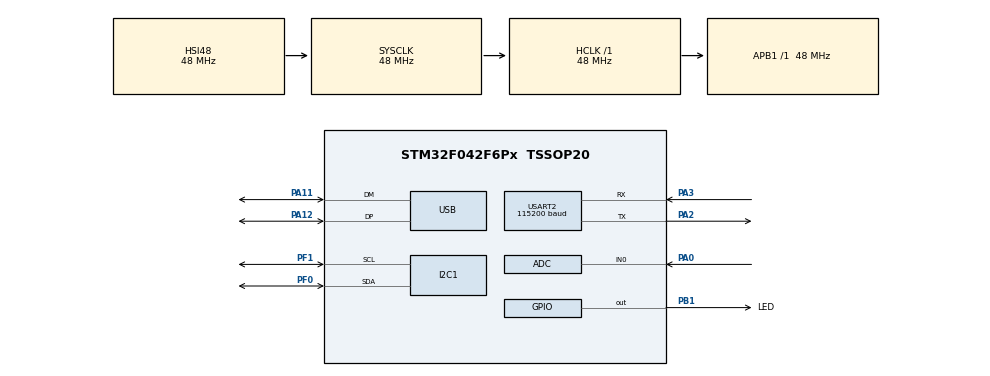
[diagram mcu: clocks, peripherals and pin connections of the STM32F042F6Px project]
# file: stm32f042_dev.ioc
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ADC.ContinuousConvMode=ENABLE
ADC.DMAContinuousRequests=DISABLE
ADC.SamplingTime=ADC_SAMPLETIME_1CYCLE_5
Dma.ADC.0.Direction=DMA_PERIPH_TO_MEMORY
Dma.ADC.0.Instance=DMA1_Channel1
Dma.ADC.0.MemDataAlignment=DMA_MDATAALIGN_HALFWORD
Dma.ADC.0.MemInc=DMA_MINC_ENABLE
Dma.ADC.0.Mode=DMA_CIRCULAR
Dma.ADC.0.PeriphDataAlignment=DMA_PDATAALIGN_HALFWORD
Dma.ADC.0.PeriphInc=DMA_PINC_DISABLE
Dma.ADC.0.Priority=DMA_PRIORITY_LOW
Dma.Request0=ADC
Mcu.Family=STM32F0
Mcu.Name=STM32F042F6Px
Mcu.Package=TSSOP20
NVIC.DMA1_Channel1_IRQn=true\:0\:0\:false\:false\:true\:false\:true
PA0.Mode=IN0
PA0.Signal=ADC_IN0
PA11.Mode=Device
PA11.Signal=USB_DM
PA12.Mode=Device
PA12.Signal=USB_DP
PA2.Mode=Asynchronous
PA2.Signal=USART2_TX
PA3.Mode=Asynchronous
PA3.Signal=USART2_RX
PB1.GPIO_Label=LED
PB1.Signal=GPIO_Output
PF0-OSC_IN.Mode=I2C
PF0-OSC_IN.Signal=I2C1_SDA
PF1-OSC_OUT.Mode=I2C
PF1-OSC_OUT.Signal=I2C1_SCL
ProjectManager.HeapSize=0x100
ProjectManager.StackSize=0x100
ProjectManager.TargetToolchain=STM32CubeIDE
RCC.AHBFreq_Value=48000000
RCC.APB1Freq_Value=48000000
RCC.APB1TimFreq_Value=48000000
RCC.HCLKFreq_Value=48000000
RCC.SYSCLKFreq_VALUE=48000000
RCC.SYSCLKSource=RCC_SYSCLKSOURCE_HSI48
USART2.BaudRate=115200
USART2.VirtualMode-Asynchronous=VM_ASYNC
VP_SYS_VS_PINREMAP.Mode=PINREMAP
board=custom

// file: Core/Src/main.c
/* USER CODE BEGIN Header */
/**
  ******************************************************************************
  * @file           : main.c
  * @brief          : Main program body
  ******************************************************************************
  * @attention
  *
  * <h2><center>&copy; Copyright (c) 2020 STMicroelectronics.
  * All rights reserved.</center></h2>
  *
  * This software component is licensed by ST under BSD 3-Clause license,
  * the "License"; You may not use this file except in compliance with the
  * License. You may obtain a copy of the License at:
  *                        opensource.org/licenses/BSD-3-Clause
  *
  ******************************************************************************
  */
/* USER CODE END Header */

#include "main.h"

/* USER CODE BEGIN Includes */
#include "math.h"
#include "stdlib.h"
#include "stdio.h"

#include "Adafruit_ZeroFFT.h"
//#include "ssd1306.h"
//#include "ssd1306_tests.h"

/* USER CODE END Includes */

/* USER CODE BEGIN PD */
#define ADC_BUFFER_SIZE 512
#define FFT_BIN_SIZE 512
#define FFT_BIN_SIZE_HALF 256
#define SAMPLING_FREQ 1000000
#define FFT_UNIT_FREQ 1953.125f // equation: SAMPLING_FREQ / FFT_BIN_SIZE
/* USER CODE END PD */

ADC_HandleTypeDef hadc;
DMA_HandleTypeDef hdma_adc;
I2C_HandleTypeDef hi2c1;
UART_HandleTypeDef huart2;
//PCD_HandleTypeDef hpcd_USB_FS;

/* USER CODE BEGIN PV */
uint16_t adcBuffer[ADC_BUFFER_SIZE];
uint16_t fft_max_index;
uint16_t fft_max_val;
float fft_max_freq;
char dispBuffer[16];
/* USER CODE END PV */

void SystemClock_Config(void);
static void MX_GPIO_Init(void);
static void MX_DMA_Init(void);
static void MX_ADC_Init(void);
static void MX_USART2_UART_Init(void);
//static void MX_USB_PCD_Init(void);
static void MX_I2C1_Init(void);

int main(void)
{

  /* MCU Configuration--------------------------------------------------------*/

  /* Reset of all peripherals, Initializes the Flash interface and the Systick. */
  HAL_Init();

  /* Configure the system clock */
  SystemClock_Config();

  /* Initialize all configured peripherals */
  MX_GPIO_Init();
  MX_DMA_Init();
  MX_ADC_Init();
  MX_USART2_UART_Init();
//  MX_USB_PCD_Init();
  MX_I2C1_Init();
  /* USER CODE BEGIN 2 */

  HAL_GPIO_WritePin(LED_GPIO_Port, LED_Pin, RESET);

  if (HAL_ADCEx_Calibration_Start(&hadc) != HAL_OK){
	  Error_Handler();
  }

  /*
   * Reset display
   */
//  ssd1306_Fill(Black);
//  ssd1306_UpdateScreen();
//
//  ssd1306_TestAll();
//  ssd1306_SetCursor(2, 5);
//  ssd1306_WriteString("Freq:", Font_11x18, White);
//  ssd1306_UpdateScreen();
//  ssd1306_SetCursor(75, 40);
//  ssd1306_WriteString("Hz", Font_11x18, White);
//  ssd1306_UpdateScreen();
//
//  sprintf(dispBuffer, "%d", (int) fft_max_freq);
//  ssd1306_SetCursor(10, 40);
//  ssd1306_WriteString(dispBuffer, Font_11x18, White);
//  ssd1306_UpdateScreen();
  /* USER CODE END 2 */

  /* Infinite loop */
  /* USER CODE BEGIN WHILE */

  HAL_ADC_Start_DMA(&hadc, (uint32_t *)adcBuffer, ADC_BUFFER_SIZE);

  while (1)
  {
    /* USER CODE END WHILE */

  }
}

void SystemClock_Config(void)
{
  RCC_OscInitTypeDef RCC_OscInitStruct = {0};
  RCC_ClkInitTypeDef RCC_ClkInitStruct = {0};
  RCC_PeriphCLKInitTypeDef PeriphClkInit = {0};

  /** Initializes the CPU, AHB and APB busses clocks
  */
  RCC_OscInitStruct.OscillatorType = RCC_OSCILLATORTYPE_HSI|RCC_OSCILLATORTYPE_HSI14
                              |RCC_OSCILLATORTYPE_HSI48;
  RCC_OscInitStruct.HSIState = RCC_HSI_ON;
  RCC_OscInitStruct.HSI48State = RCC_HSI48_ON;
  RCC_OscInitStruct.HSI14State = RCC_HSI14_ON;
  RCC_OscInitStruct.HSICalibrationValue = RCC_HSICALIBRATION_DEFAULT;
  RCC_OscInitStruct.HSI14CalibrationValue = 16;
  RCC_OscInitStruct.PLL.PLLState = RCC_PLL_NONE;
  if (HAL_RCC_OscConfig(&RCC_OscInitStruct) != HAL_OK)
  {
    Error_Handler();
  }
  /** Initializes the CPU, AHB and APB busses clocks
  */
  RCC_ClkInitStruct.ClockType = RCC_CLOCKTYPE_HCLK|RCC_CLOCKTYPE_SYSCLK
                              |RCC_CLOCKTYPE_PCLK1;
  RCC_ClkInitStruct.SYSCLKSource = RCC_SYSCLKSOURCE_HSI48;
  RCC_ClkInitStruct.AHBCLKDivider = RCC_SYSCLK_DIV1;
  RCC_ClkInitStruct.APB1CLKDivider = RCC_HCLK_DIV1;

  if (HAL_RCC_ClockConfig(&RCC_ClkInitStruct, FLASH_LATENCY_1) != HAL_OK)
  {
    Error_Handler();
  }
  PeriphClkInit.PeriphClockSelection = RCC_PERIPHCLK_USB|RCC_PERIPHCLK_I2C1;
  PeriphClkInit.I2c1ClockSelection = RCC_I2C1CLKSOURCE_HSI;
  PeriphClkInit.UsbClockSelection = RCC_USBCLKSOURCE_HSI48;

  if (HAL_RCCEx_PeriphCLKConfig(&PeriphClkInit) != HAL_OK)
  {
    Error_Handler();
  }
}

static void MX_ADC_Init(void)
{

  ADC_ChannelConfTypeDef sConfig = {0};

  /** Configure the global features of the ADC (Clock, Resolution, Data Alignment and number of conversion)
  */
  hadc.Instance = ADC1;
  hadc.Init.ClockPrescaler = ADC_CLOCK_ASYNC_DIV1;
  hadc.Init.Resolution = ADC_RESOLUTION_12B;
  hadc.Init.DataAlign = ADC_DATAALIGN_RIGHT;
  hadc.Init.ScanConvMode = ADC_SCAN_DIRECTION_FORWARD;
  hadc.Init.EOCSelection = ADC_EOC_SINGLE_CONV;
  hadc.Init.LowPowerAutoWait = DISABLE;
  hadc.Init.LowPowerAutoPowerOff = DISABLE;
  hadc.Init.ContinuousConvMode = ENABLE;
  hadc.Init.DiscontinuousConvMode = DISABLE;
  hadc.Init.ExternalTrigConv = ADC_SOFTWARE_START;
  hadc.Init.ExternalTrigConvEdge = ADC_EXTERNALTRIGCONVEDGE_NONE;
  hadc.Init.DMAContinuousRequests = DISABLE;
  hadc.Init.Overrun = ADC_OVR_DATA_PRESERVED;
  if (HAL_ADC_Init(&hadc) != HAL_OK)
  {
    Error_Handler();
  }
  /** Configure for the selected ADC regular channel to be converted.
  */
  sConfig.Channel = ADC_CHANNEL_0;
  sConfig.Rank = ADC_RANK_CHANNEL_NUMBER;
  sConfig.SamplingTime = ADC_SAMPLETIME_1CYCLE_5;
  if (HAL_ADC_ConfigChannel(&hadc, &sConfig) != HAL_OK)
  {
    Error_Handler();
  }

}

static void MX_I2C1_Init(void)
{

  hi2c1.Instance = I2C1;
  hi2c1.Init.Timing = 0x2000090E;
  hi2c1.Init.OwnAddress1 = 0;
  hi2c1.Init.AddressingMode = I2C_ADDRESSINGMODE_7BIT;
  hi2c1.Init.DualAddressMode = I2C_DUALADDRESS_DISABLE;
  hi2c1.Init.OwnAddress2 = 0;
  hi2c1.Init.OwnAddress2Masks = I2C_OA2_NOMASK;
  hi2c1.Init.GeneralCallMode = I2C_GENERALCALL_DISABLE;
  hi2c1.Init.NoStretchMode = I2C_NOSTRETCH_DISABLE;
  if (HAL_I2C_Init(&hi2c1) != HAL_OK)
  {
    Error_Handler();
  }
  /** Configure Analogue filter
  */
  if (HAL_I2CEx_ConfigAnalogFilter(&hi2c1, I2C_ANALOGFILTER_ENABLE) != HAL_OK)
  {
    Error_Handler();
  }
  /** Configure Digital filter
  */
  if (HAL_I2CEx_ConfigDigitalFilter(&hi2c1, 0) != HAL_OK)
  {
    Error_Handler();
  }

}

static void MX_USART2_UART_Init(void)
{

  huart2.Instance = USART2;
  huart2.Init.BaudRate = 115200;
  huart2.Init.WordLength = UART_WORDLENGTH_8B;
  huart2.Init.StopBits = UART_STOPBITS_1;
  huart2.Init.Parity = UART_PARITY_NONE;
  huart2.Init.Mode = UART_MODE_TX_RX;
  huart2.Init.HwFlowCtl = UART_HWCONTROL_NONE;
  huart2.Init.OverSampling = UART_OVERSAMPLING_16;
  huart2.Init.OneBitSampling = UART_ONE_BIT_SAMPLE_DISABLE;
  huart2.AdvancedInit.AdvFeatureInit = UART_ADVFEATURE_NO_INIT;
  if (HAL_UART_Init(&huart2) != HAL_OK)
  {
    Error_Handler();
  }

}

//static void MX_USB_PCD_Init(void)
//{
//
//  /* USER CODE BEGIN USB_Init 0 */
//
//  /* USER CODE END USB_Init 0 */
//
//  /* USER CODE BEGIN USB_Init 1 */
//
//  /* USER CODE END USB_Init 1 */
//  hpcd_USB_FS.Instance = USB;
//  hpcd_USB_FS.Init.dev_endpoints = 8;
//  hpcd_USB_FS.Init.speed = PCD_SPEED_FULL;
//  hpcd_USB_FS.Init.phy_itface = PCD_PHY_EMBEDDED;
//  hpcd_USB_FS.Init.low_power_enable = DISABLE;
//  hpcd_USB_FS.Init.lpm_enable = DISABLE;
//  hpcd_USB_FS.Init.battery_charging_enable = DISABLE;
//  if (HAL_PCD_Init(&hpcd_USB_FS) != HAL_OK)
//  {
//    Error_Handler();
//  }
//  /* USER CODE BEGIN USB_Init 2 */
//
//  /* USER CODE END USB_Init 2 */
//
//}

static void MX_DMA_Init(void)
{

  /* DMA controller clock enable */
  __HAL_RCC_DMA1_CLK_ENABLE();

  /* DMA interrupt init */
  /* DMA1_Channel1_IRQn interrupt configuration */
  HAL_NVIC_SetPriority(DMA1_Channel1_IRQn, 0, 0);
  HAL_NVIC_EnableIRQ(DMA1_Channel1_IRQn);

}

static void MX_GPIO_Init(void)
{
  GPIO_InitTypeDef GPIO_InitStruct = {0};

  /* GPIO Ports Clock Enable */
  __HAL_RCC_GPIOF_CLK_ENABLE();
  __HAL_RCC_GPIOA_CLK_ENABLE();
  __HAL_RCC_GPIOB_CLK_ENABLE();

  /*Configure GPIO pin Output Level */
  HAL_GPIO_WritePin(LED_GPIO_Port, LED_Pin, GPIO_PIN_RESET);

  /*Configure GPIO pin : LED_Pin */
  GPIO_InitStruct.Pin = LED_Pin;
  GPIO_InitStruct.Mode = GPIO_MODE_OUTPUT_PP;
  GPIO_InitStruct.Pull = GPIO_NOPULL;
  GPIO_InitStruct.Speed = GPIO_SPEED_FREQ_LOW;
  HAL_GPIO_Init(LED_GPIO_Port, &GPIO_InitStruct);

}

/* USER CODE BEGIN 4 */
void HAL_ADC_ConvCpltCallback(ADC_HandleTypeDef* hadc)
{
//	HAL_GPIO_TogglePin(LED_GPIO_Port, LED_Pin);
	HAL_GPIO_WritePin(LED_GPIO_Port, LED_Pin, SET);

	/*
	 * FFT calculation
	 */
	ZeroFFT((q15_t *)adcBuffer, FFT_BIN_SIZE);

	// find signal frequency
	fft_max_val = 0;
	for (int i=2;i<FFT_BIN_SIZE_HALF;i++) { // loop start from 2 to avoid DC component
		if (adcBuffer[i] > fft_max_val) {
			fft_max_index = i;
			fft_max_val = adcBuffer[i];
		}
	}
	fft_max_freq = fft_max_index * FFT_UNIT_FREQ;

	/* -- end of FFT calculation -- */

	HAL_GPIO_WritePin(LED_GPIO_Port, LED_Pin, RESET);
	HAL_ADC_Start_DMA(hadc, (uint32_t *)adcBuffer, ADC_BUFFER_SIZE);
}
/* USER CODE END 4 */

void Error_Handler(void)
{
}

/************************ (C) COPYRIGHT STMicroelectronics *****END OF FILE****/
